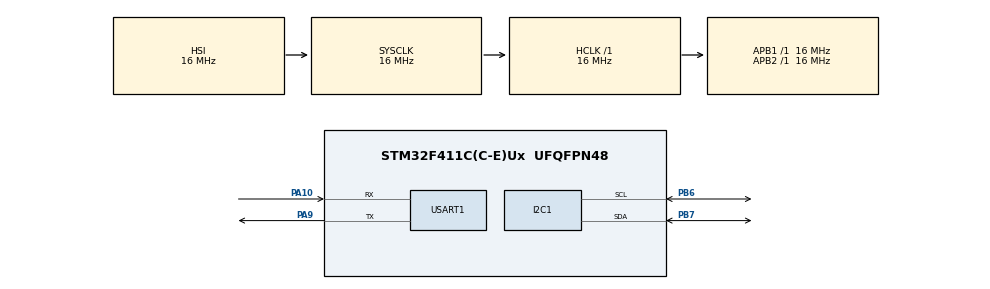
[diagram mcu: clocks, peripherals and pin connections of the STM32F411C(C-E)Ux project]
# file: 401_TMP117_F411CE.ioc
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I2C1.I2C_Mode=I2C_Fast
Mcu.Family=STM32F4
Mcu.Name=STM32F411C(C-E)Ux
Mcu.Package=UFQFPN48
NVIC.PriorityGroup=NVIC_PRIORITYGROUP_4
PA10.Mode=Asynchronous
PA10.Signal=USART1_RX
PA13.Mode=Serial_Wire
PA13.Signal=SYS_JTMS-SWDIO
PA14.Mode=Serial_Wire
PA14.Signal=SYS_JTCK-SWCLK
PA9.Mode=Asynchronous
PA9.Signal=USART1_TX
PB6.Mode=I2C
PB6.Signal=I2C1_SCL
PB7.Mode=I2C
PB7.Signal=I2C1_SDA
PC14-OSC32_IN.Mode=LSE-External-Oscillator
PC14-OSC32_IN.Signal=RCC_OSC32_IN
PC15-OSC32_OUT.Mode=LSE-External-Oscillator
PC15-OSC32_OUT.Signal=RCC_OSC32_OUT
PH0\ -\ OSC_IN.Mode=HSE-External-Oscillator
PH0\ -\ OSC_IN.Signal=RCC_OSC_IN
PH1\ -\ OSC_OUT.Mode=HSE-External-Oscillator
PH1\ -\ OSC_OUT.Signal=RCC_OSC_OUT
ProjectManager.HeapSize=0x200
ProjectManager.StackSize=0x400
ProjectManager.TargetToolchain=STM32CubeIDE
RCC.AHBFreq_Value=16000000
RCC.APB1Freq_Value=16000000
RCC.APB2Freq_Value=16000000
RCC.CortexFreq_Value=16000000
RCC.HSE_VALUE=25000000
RCC.HSI_VALUE=16000000
RCC.SYSCLKFreq_VALUE=16000000
RCC.VCOOutputFreq_Value=192000000
USART1.VirtualMode=VM_ASYNC
board=custom

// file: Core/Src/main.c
/* USER CODE BEGIN Header */
/**
  ******************************************************************************
  * @file           : main.c
  * @brief          : Main program body
  ******************************************************************************
  * @attention
  *
  * Copyright (c) 2026 STMicroelectronics.
  * All rights reserved.
  *
  * This software is licensed under terms that can be found in the LICENSE file
  * in the root directory of this software component.
  * If no LICENSE file comes with this software, it is provided AS-IS.
  *
  ******************************************************************************
 Notes:
 Medical Grade temperature sensor
 Microcontroller: STM32F411CEU6
 Sensor: TMP117 (Texas Instruments)
 Communication protocol: I2C1 (400KHz)
 Debugger: SWD (ST - Link V2).

  */
/* USER CODE END Header */
#include "main.h"

/* USER CODE BEGIN Includes */
#include "tmp117.h"
#include <stdio.h>
/* USER CODE END Includes */

I2C_HandleTypeDef hi2c1;

UART_HandleTypeDef huart1;

/* USER CODE BEGIN PV */
float temperature = 0.0f;  /* <--- Add it here so it is global */
/* USER CODE END PV */

void SystemClock_Config(void);
static void MX_GPIO_Init(void);
static void MX_I2C1_Init(void);
static void MX_USART1_UART_Init(void);
/* USER CODE BEGIN PFP */
/* Implement the platform I2C routines mapped to STM32 HAL */
int TMP117_Platform_I2C_Write(void *handle, uint8_t addr, uint8_t reg, const uint8_t *data, uint16_t len) {
    // STM32 requires 8-bit shifted address
    uint8_t dev_addr = addr << 1;
    if (HAL_I2C_Mem_Write((I2C_HandleTypeDef*)handle, dev_addr, reg, I2C_MEMADD_SIZE_8BIT, (uint8_t*)data, len, 100) == HAL_OK) {
        return 0;
    }
    return -1;
}

int TMP117_Platform_I2C_Read(void *handle, uint8_t addr, uint8_t reg, uint8_t *data, uint16_t len) {
    uint8_t dev_addr = addr << 1;
    if (HAL_I2C_Mem_Read((I2C_HandleTypeDef*)handle, dev_addr, reg, I2C_MEMADD_SIZE_8BIT, data, len, 100) == HAL_OK) {
        return 0;
    }
    return -1;
}

void TMP117_Platform_Delay(uint32_t ms) {
    HAL_Delay(ms);
}

/* Retarget printf to UART if you are using a serial monitor */
#ifdef __GNUC__
#define PUTCHAR_PROTOTYPE int __io_putchar(int ch)
#else
#define PUTCHAR_PROTOTYPE int fputc(int ch, FILE *f)
#endif
PUTCHAR_PROTOTYPE {
    HAL_UART_Transmit(&huart1, (uint8_t *)&ch, 1, HAL_MAX_DELAY); // Assuming UART1
    return ch;
}
/* USER CODE END PFP */

/* USER CODE BEGIN 0 */

#if i2creadfunction
void I2C_Scan(I2C_HandleTypeDef *hi2c) {
    HAL_StatusTypeDef result;
    printf("Scanning I2C bus...\r\n");
    for (uint16_t i = 1; i < 128; i++) {
        result = HAL_I2C_IsDeviceReady(hi2c, (uint16_t)(i << 1), 1, 10);
        if (result == HAL_OK) {
            printf("Device found at 0x%02X\r\n", i);
        }
    }
    printf("Scan complete\r\n");
}

#endif

/* USER CODE END 0 */

int main(void)
{

  /* MCU Configuration--------------------------------------------------------*/

  /* Reset of all peripherals, Initializes the Flash interface and the Systick. */
  HAL_Init();

  /* Configure the system clock */
  SystemClock_Config();

  /* Initialize all configured peripherals */
  MX_GPIO_Init();
  MX_I2C1_Init();
  MX_USART1_UART_Init();
  /* USER CODE BEGIN 2 */
  printf("I2C ready\r\n");
  TMP117_Handle_t tmp117_dev = {
        .i2c_handle = &hi2c1,
        .addr = TMP117_I2C_ADDR_GND, // 0x48
        .initialized = false
    };

    if (TMP117_Init(&tmp117_dev) == TMP117_OK) {
        printf("TMP117 initialized successfully.\r\n");
        printf("TMP117 sensor address read: 0x%02X\r\n", tmp117_dev.addr);
    } else {
        printf("Failed to initialize TMP117.\r\n");
    }
  /* USER CODE END 2 */

  /* Infinite loop */
  while (1)
  {

    /* USER CODE BEGIN 3 */

	        if (TMP117_Read(&tmp117_dev, &temperature) == TMP117_OK) {
	            /* Print float with 3 decimal places */
	            printf("Body Temp: %.3f C\r\n", temperature);
	        } else {
	            printf("Error reading sensor.\r\n");
	        }

	        /* * Because we set the sensor to output every 1s natively,
	         * we wait ~1000ms here so we aren't pointlessly polling the I2C bus.
	         */
	        HAL_Delay(1000);
	//  I2C_Scan(&hi2c1);
  }
  /* USER CODE END 3 */
}

void SystemClock_Config(void)
{
  RCC_OscInitTypeDef RCC_OscInitStruct = {0};
  RCC_ClkInitTypeDef RCC_ClkInitStruct = {0};

  /** Configure the main internal regulator output voltage
  */
  __HAL_RCC_PWR_CLK_ENABLE();
  __HAL_PWR_VOLTAGESCALING_CONFIG(PWR_REGULATOR_VOLTAGE_SCALE1);

  /** Initializes the RCC Oscillators according to the specified parameters
  * in the RCC_OscInitTypeDef structure.
  */
  RCC_OscInitStruct.OscillatorType = RCC_OSCILLATORTYPE_HSI;
  RCC_OscInitStruct.HSIState = RCC_HSI_ON;
  RCC_OscInitStruct.HSICalibrationValue = RCC_HSICALIBRATION_DEFAULT;
  RCC_OscInitStruct.PLL.PLLState = RCC_PLL_NONE;
  if (HAL_RCC_OscConfig(&RCC_OscInitStruct) != HAL_OK)
  {
    Error_Handler();
  }

  /** Initializes the CPU, AHB and APB buses clocks
  */
  RCC_ClkInitStruct.ClockType = RCC_CLOCKTYPE_HCLK|RCC_CLOCKTYPE_SYSCLK
                              |RCC_CLOCKTYPE_PCLK1|RCC_CLOCKTYPE_PCLK2;
  RCC_ClkInitStruct.SYSCLKSource = RCC_SYSCLKSOURCE_HSI;
  RCC_ClkInitStruct.AHBCLKDivider = RCC_SYSCLK_DIV1;
  RCC_ClkInitStruct.APB1CLKDivider = RCC_HCLK_DIV1;
  RCC_ClkInitStruct.APB2CLKDivider = RCC_HCLK_DIV1;

  if (HAL_RCC_ClockConfig(&RCC_ClkInitStruct, FLASH_LATENCY_0) != HAL_OK)
  {
    Error_Handler();
  }
}

static void MX_I2C1_Init(void)
{

  hi2c1.Instance = I2C1;
  hi2c1.Init.ClockSpeed = 400000;
  hi2c1.Init.DutyCycle = I2C_DUTYCYCLE_2;
  hi2c1.Init.OwnAddress1 = 0;
  hi2c1.Init.AddressingMode = I2C_ADDRESSINGMODE_7BIT;
  hi2c1.Init.DualAddressMode = I2C_DUALADDRESS_DISABLE;
  hi2c1.Init.OwnAddress2 = 0;
  hi2c1.Init.GeneralCallMode = I2C_GENERALCALL_DISABLE;
  hi2c1.Init.NoStretchMode = I2C_NOSTRETCH_DISABLE;
  if (HAL_I2C_Init(&hi2c1) != HAL_OK)
  {
    Error_Handler();
  }

}

static void MX_USART1_UART_Init(void)
{

  huart1.Instance = USART1;
  huart1.Init.BaudRate = 115200;
  huart1.Init.WordLength = UART_WORDLENGTH_8B;
  huart1.Init.StopBits = UART_STOPBITS_1;
  huart1.Init.Parity = UART_PARITY_NONE;
  huart1.Init.Mode = UART_MODE_TX_RX;
  huart1.Init.HwFlowCtl = UART_HWCONTROL_NONE;
  huart1.Init.OverSampling = UART_OVERSAMPLING_16;
  if (HAL_UART_Init(&huart1) != HAL_OK)
  {
    Error_Handler();
  }

}

static void MX_GPIO_Init(void)
{

  /* GPIO Ports Clock Enable */
  __HAL_RCC_GPIOC_CLK_ENABLE();
  __HAL_RCC_GPIOH_CLK_ENABLE();
  __HAL_RCC_GPIOA_CLK_ENABLE();
  __HAL_RCC_GPIOB_CLK_ENABLE();

}

void Error_Handler(void)
{
  __disable_irq();
  while (1)
  {
  }
}
